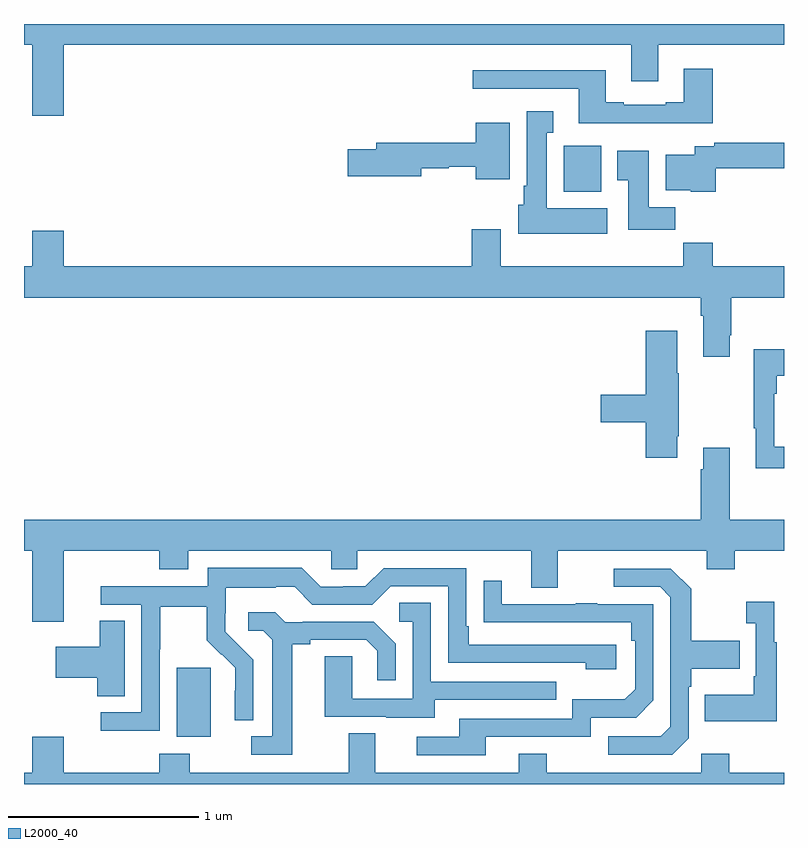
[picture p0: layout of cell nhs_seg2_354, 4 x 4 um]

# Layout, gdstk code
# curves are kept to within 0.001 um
import gdstk
lib = gdstk.Library(unit=1e-6, precision=1e-09)
def R(c, l, rs):  # rectangles x0, y0, x1, y1
    for r in rs: c.add(gdstk.rectangle(r[:2], r[2:], *l))
def P(c, l, *ps):  # polygons
    for p in ps: c.add(gdstk.Polygon(p, *l))
L2000_40 = (2000, 40)

nhs_seg2_354 = lib.new_cell('nhs_seg2_354')
R(nhs_seg2_354, L2000_40, [(129.803,588.05,129.982,588.411), (131.84,590.918,132.037,591.16)])
P(nhs_seg2_354, L2000_40, [(129.208,591.692),(132.197,591.692),(132.197,591.498),(132.337,591.498),(132.337,591.692),(133,591.692),(133,591.8),(129,591.8),(129,591.692),(129.044,591.692),(129.044,591.318),(129.208,591.318)],
  [(132.626,591.565),(132.473,591.565),(132.473,591.388),(132.377,591.388),(132.377,591.375),(132.157,591.375),(132.157,591.388),(132.061,591.388),(132.061,591.556),(131.361,591.556),(131.361,591.459),(131.921,591.459),(131.921,591.278),(132.626,591.278)],
  [(132.07,590.83),(131.752,590.83),(131.752,591.227),(131.785,591.227),(131.785,591.34),(131.645,591.34),(131.645,590.95),(131.63,590.95),(131.63,590.85),(131.6,590.85),(131.6,590.696),(132.07,590.696)],
  [(131.557,591.28),(131.378,591.28),(131.378,591.176),(130.853,591.176),(130.853,591.14),(130.704,591.14),(130.704,590.998),(131.092,590.998),(131.092,591.04),(131.235,591.04),(131.235,591.048),(131.378,591.048),(131.378,590.984),(131.557,590.984)],
  [(132.64,591.04),(133,591.04),(133,591.176),(132.634,591.176),(132.634,591.156),(132.531,591.156),(132.531,591.112),(132.377,591.112),(132.377,590.924),(132.51,590.924),(132.51,590.918),(132.64,590.918)],
  [(132.428,590.836),(132.289,590.836),(132.289,591.133),(132.122,591.133),(132.122,590.977),(132.179,590.977),(132.179,590.718),(132.428,590.718)],
  [(132.715,590.161),(132.723,590.161),(132.723,590.36),(133,590.36),(133,590.524),(132.626,590.524),(132.626,590.648),(132.469,590.648),(132.469,590.524),(131.509,590.524),(131.509,590.719),(131.357,590.719),(131.357,590.524),(129.208,590.524),(129.208,590.713),(129.044,590.713),(129.044,590.524),(129,590.524),(129,590.36),(132.563,590.36),(132.563,590.264),(132.575,590.264),(132.575,590.049),(132.715,590.049)],
  [(132.439,589.63),(132.447,589.63),(132.447,589.961),(132.439,589.961),(132.439,590.185),(132.272,590.185),(132.272,589.85),(132.036,589.85),(132.036,589.703),(132.272,589.703),(132.272,589.518),(132.439,589.518)],
  [(133,589.574),(132.948,589.574),(132.948,589.853),(132.961,589.853),(132.961,589.949),(133,589.949),(133,590.089),(132.84,590.089),(132.84,589.673),(132.851,589.673),(132.851,589.461),(133,589.461)],
  [(129.208,589.028),(129.713,589.028),(129.713,588.929),(129.865,588.929),(129.865,589.028),(130.617,589.028),(130.617,588.93),(130.755,588.93),(130.755,589.028),(131.669,589.028),(131.669,588.834),(131.809,588.834),(131.809,589.028),(132.593,589.028),(132.593,588.929),(132.741,588.929),(132.741,589.028),(133,589.028),(133,589.192),(132.715,589.192),(132.715,589.57),(132.575,589.57),(132.575,589.457),(132.563,589.457),(132.563,589.192),(129,589.192),(129,589.028),(129.044,589.028),(129.044,588.654),(129.208,588.654)],
  [(129.714,588.508),(129.717,588.508),(129.717,588.732),(129.961,588.732),(129.961,588.557),(130.038,588.48),(130.041,588.483),(130.112,588.413),(130.112,588.29),(130.11,588.29),(130.11,588.136),(130.206,588.136),(130.206,588.454),(130.06,588.602),(130.06,588.699),(130.062,588.699),(130.062,588.833),(130.325,588.833),(130.325,588.837),(130.425,588.837),(130.518,588.744),(130.833,588.744),(130.929,588.84),(131.232,588.84),(131.232,588.438),(131.957,588.438),(131.957,588.404),(132.118,588.404),(132.118,588.534),(131.341,588.534),(131.341,588.631),(131.328,588.631),(131.328,588.936),(130.893,588.936),(130.797,588.84),(130.679,588.84),(130.679,588.837),(130.563,588.837),(130.463,588.937),(129.966,588.937),(129.966,588.84),(129.405,588.84),(129.405,588.744),(129.618,588.744),(129.618,588.177),(129.405,588.177),(129.405,588.079),(129.714,588.079)],
  [(132.498,588.042),(132.498,588.311),(132.511,588.311),(132.511,588.407),(132.767,588.407),(132.767,588.555),(132.511,588.555),(132.511,588.827),(132.405,588.933),(132.105,588.933),(132.105,588.837),(132.348,588.837),(132.402,588.783),(132.402,588.102),(132.351,588.051),(132.075,588.051),(132.075,587.955),(132.411,587.955)],
  [(131.431,588.048),(131.982,588.048),(131.982,588.15),(132.222,588.15),(132.312,588.24),(132.312,588.747),(132.017,588.747),(132.017,588.752),(131.905,588.752),(131.905,588.747),(131.515,588.747),(131.515,588.871),(131.419,588.871),(131.419,588.652),(132.196,588.651),(132.196,588.554),(132.216,588.554),(132.216,588.3),(132.163,588.247),(131.886,588.247),(131.886,588.144),(131.291,588.144),(131.291,588.048),(131.067,588.048),(131.067,587.952),(131.431,587.952)],
  [(132.961,588.547),(132.949,588.547),(132.949,588.76),(132.801,588.76),(132.801,588.647),(132.852,588.647),(132.852,588.367),(132.84,588.367),(132.84,588.271),(132.583,588.271),(132.583,588.131),(132.961,588.131)],
  [(131.161,588.243),(131.801,588.243),(131.801,588.339),(131.142,588.339),(131.142,588.755),(130.974,588.755),(130.974,588.654),(131.046,588.654),(131.046,588.249),(130.728,588.249),(130.728,588.473),(130.583,588.473),(130.583,588.153),(130.907,588.153),(130.907,588.149),(131.161,588.149)],
  [(130.411,588.536),(130.507,588.536),(130.507,588.558),(130.802,588.558),(130.859,588.501),(130.859,588.345),(130.956,588.345),(130.956,588.538),(130.84,588.654),(130.468,588.654),(130.468,588.651),(130.374,588.651),(130.322,588.703),(130.179,588.703),(130.179,588.606),(130.26,588.606),(130.307,588.559),(130.307,588.051),(130.197,588.051),(130.197,587.955),(130.411,587.955)],
  [(129.529,588.659),(129.398,588.659),(129.398,588.523),(129.168,588.523),(129.168,588.358),(129.386,588.358),(129.386,588.262),(129.529,588.262)],
  [(133,587.86),(132.711,587.86),(132.711,587.959),(132.564,587.959),(132.564,587.86),(131.751,587.86),(131.751,587.959),(131.603,587.959),(131.603,587.86),(130.849,587.86),(130.849,588.068),(130.709,588.068),(130.709,587.86),(129.873,587.86),(129.873,587.959),(129.713,587.959),(129.713,587.86),(129.208,587.86),(129.208,588.049),(129.044,588.049),(129.044,587.86),(129,587.86),(129,587.8),(133,587.8)])

lib.write_gds('nhs_seg2_354.gds')
